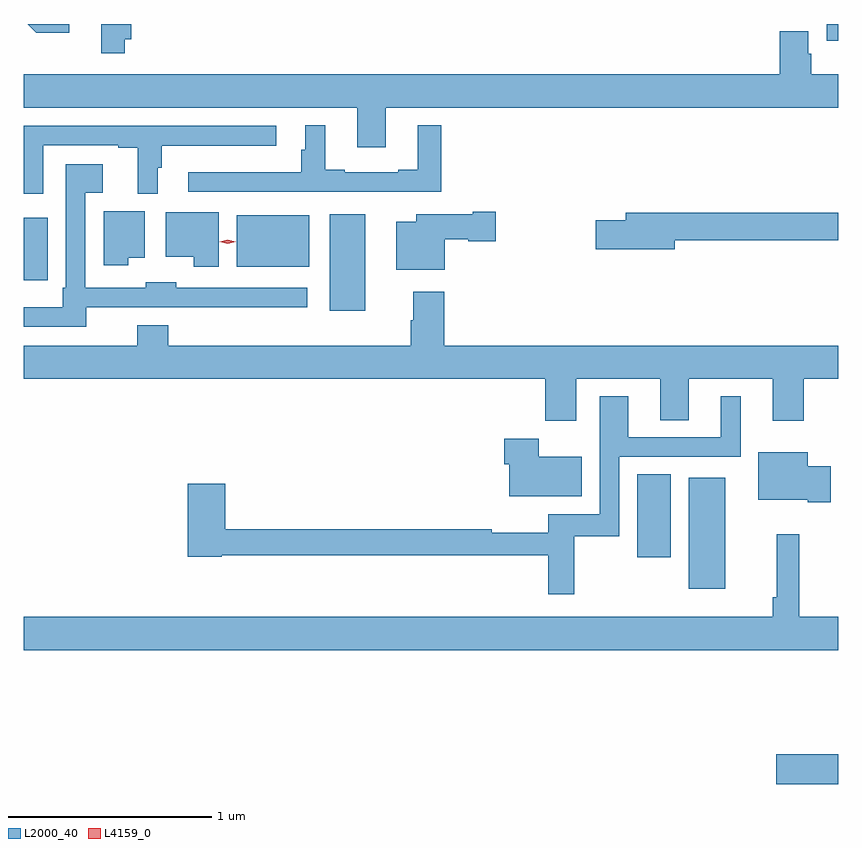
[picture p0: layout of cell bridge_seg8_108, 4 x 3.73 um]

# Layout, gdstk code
import gdstk
lib = gdstk.Library(unit=1e-6, precision=1e-09)
def R(c, l, rs):  # rectangles x0, y0, x1, y1
    for r in rs: c.add(gdstk.rectangle(r[:2], r[2:], *l))
def P(c, l, *ps):  # polygons
    for p in ps: c.add(gdstk.Polygon(p, *l))
L2000_40 = (2000, 40)
L4159_0 = (4159, 0)

bridge_seg8_108 = lib.new_cell('bridge_seg8_108')
R(bridge_seg8_108, L2000_40, [(855.978,1126.499,856.282,1126.646), (855.548,1127.459,855.727,1128.004), (855.296,1127.613,855.46,1128.02), (853.784,1128.824,853.96,1129.297), (853.328,1129.04,853.684,1129.291), (856.226,1130.148,856.282,1130.231)])
P(bridge_seg8_108, L2000_40, [(852.505,1130.231),(852.301,1130.231),(852.343,1130.189),(852.505,1130.189)],
  [(852.779,1130.156),(852.809,1130.156),(852.809,1130.231),(852.662,1130.231),(852.662,1130.088),(852.779,1130.088)],
  [(854.059,1129.82),(856.282,1129.82),(856.282,1129.984),(856.148,1129.984),(856.148,1130.085),(856.135,1130.085),(856.135,1130.196),(855.995,1130.196),(855.995,1129.984),(852.282,1129.984),(852.282,1129.82),(853.919,1129.82),(853.919,1129.626),(854.059,1129.626)],
  [(854.333,1129.735),(854.216,1129.735),(854.216,1129.516),(854.12,1129.516),(854.12,1129.503),(853.858,1129.503),(853.858,1129.516),(853.762,1129.516),(853.762,1129.735),(853.664,1129.735),(853.664,1129.614),(853.645,1129.614),(853.645,1129.504),(853.089,1129.504),(853.089,1129.407),(854.333,1129.407)],
  [(852.378,1129.635),(852.746,1129.635),(852.746,1129.623),(852.842,1129.623),(852.842,1129.398),(852.94,1129.398),(852.94,1129.524),(852.959,1129.524),(852.959,1129.634),(853.522,1129.634),(853.522,1129.731),(852.282,1129.731),(852.282,1129.398),(852.378,1129.398)],
  [(852.588,1128.839),(853.675,1128.839),(853.675,1128.936),(853.032,1128.936),(853.032,1128.964),(852.882,1128.964),(852.882,1128.936),(852.585,1128.936),(852.585,1129.403),(852.67,1129.403),(852.67,1129.543),(852.489,1129.543),(852.489,1128.937),(852.473,1128.937),(852.473,1128.841),(852.282,1128.841),(852.282,1128.744),(852.588,1128.744)],
  [(852.796,1129.082),(852.877,1129.082),(852.877,1129.312),(852.674,1129.312),(852.674,1129.046),(852.796,1129.046)],
  [(854.35,1129.175),(854.466,1129.175),(854.466,1129.163),(854.599,1129.163),(854.599,1129.31),(854.486,1129.31),(854.486,1129.297),(854.21,1129.297),(854.21,1129.261),(854.111,1129.261),(854.111,1129.025),(854.35,1129.025)],
  [(853.24,1129.306),(852.98,1129.306),(852.98,1129.088),(853.118,1129.088),(853.118,1129.038),(853.24,1129.038)],
  [(855.478,1129.168),(856.282,1129.168),(856.282,1129.304),(855.239,1129.304),(855.239,1129.268),(855.09,1129.268),(855.09,1129.126),(855.478,1129.126)],
  [(852.399,1129.075),(852.4,1129.075),(852.4,1129.279),(852.282,1129.279),(852.282,1128.972),(852.399,1128.972)],
  [(854.995,1128.488),(855.407,1128.488),(855.407,1128.286),(855.547,1128.286),(855.547,1128.488),(855.959,1128.488),(855.959,1128.282),(856.112,1128.282),(856.112,1128.488),(856.282,1128.488),(856.282,1128.652),(854.348,1128.652),(854.348,1128.916),(854.195,1128.916),(854.195,1128.776),(854.183,1128.776),(854.183,1128.652),(852.992,1128.652),(852.992,1128.751),(852.839,1128.751),(852.839,1128.652),(852.282,1128.652),(852.282,1128.488),(854.843,1128.488),(854.843,1128.282),(854.995,1128.282)],
  [(854.986,1127.715),(855.207,1127.715),(855.207,1128.105),(855.802,1128.105),(855.802,1128.403),(855.704,1128.403),(855.704,1128.201),(855.25,1128.201),(855.25,1128.403),(855.111,1128.403),(855.111,1127.823),(854.857,1127.823),(854.857,1127.732),(854.58,1127.732),(854.58,1127.75),(853.271,1127.75),(853.271,1127.974),(853.088,1127.974),(853.088,1127.614),(853.254,1127.614),(853.254,1127.622),(854.857,1127.622),(854.857,1127.43),(854.986,1127.43)],
  [(855.022,1128.106),(854.812,1128.106),(854.812,1128.195),(854.642,1128.195),(854.642,1128.069),(854.666,1128.069),(854.666,1127.912),(855.022,1127.912)],
  [(856.246,1128.06),(856.132,1128.06),(856.132,1128.127),(855.89,1128.127),(855.89,1127.894),(856.133,1127.894),(856.133,1127.882),(856.246,1127.882)],
  [(856.282,1127.32),(856.09,1127.32),(856.09,1127.725),(855.979,1127.725),(855.979,1127.416),(855.961,1127.416),(855.961,1127.32),(852.282,1127.32),(852.282,1127.156),(856.282,1127.156)])
P(bridge_seg8_108, L4159_0, [(853.284,1129.151),(853.245,1129.161),(853.245,1129.161),(853.245,1129.161),(853.284,1129.171),(853.323,1129.162),(853.323,1129.162),(853.323,1129.161)])

lib.write_gds('bridge_seg8_108.gds')
